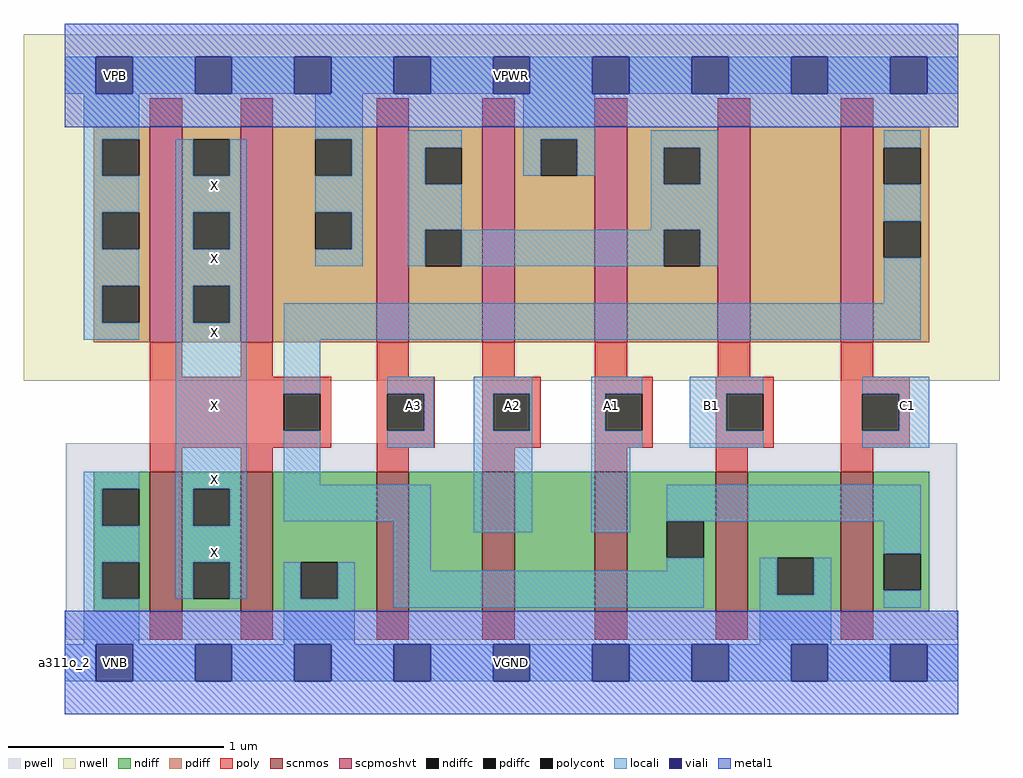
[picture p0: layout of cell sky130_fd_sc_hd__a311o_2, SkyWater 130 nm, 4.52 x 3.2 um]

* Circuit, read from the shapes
.subckt sky130_fd_sc_hd__a311o_2 A1 A2 A3 B1 C1 VGND VNB VPB VPWR X
XM1 X n1 VGND VNB sky130_fd_pr__nfet_01v8 w=0.65 l=0.15 m=2
XM2 n2 A3 VGND VNB sky130_fd_pr__nfet_01v8 w=0.65 l=0.15
XM3 n3 A2 n2 VNB sky130_fd_pr__nfet_01v8 w=0.65 l=0.15
XM4 n1 A1 n3 VNB sky130_fd_pr__nfet_01v8 w=0.65 l=0.15
XM5 VGND B1 n1 VNB sky130_fd_pr__nfet_01v8 w=0.65 l=0.15
XM6 n1 C1 VGND VNB sky130_fd_pr__nfet_01v8 w=0.65 l=0.15
XM7 X n1 VPWR VPB sky130_fd_pr__pfet_01v8_hvt w=1 l=0.15 m=2
XM8 n4 A3 VPWR VPB sky130_fd_pr__pfet_01v8_hvt w=1 l=0.15
XM9 VPWR A2 n4 VPB sky130_fd_pr__pfet_01v8_hvt w=1 l=0.15
XM10 n4 A1 VPWR VPB sky130_fd_pr__pfet_01v8_hvt w=1 l=0.15
XM11 n5 B1 n4 VPB sky130_fd_pr__pfet_01v8_hvt w=1 l=0.15
XM12 n1 C1 n5 VPB sky130_fd_pr__pfet_01v8_hvt w=1 l=0.15
.ends

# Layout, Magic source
magic
tech sky130B
magscale 1 2
<< nwell >>
rect -38 261 866 582
<< pwell >>
rect 1 21 827 203
rect 30 -17 64 21
<< scnmos >>
rect 79 47 109 177
rect 163 47 193 177
rect 289 47 319 177
rect 387 47 417 177
rect 491 47 521 177
rect 603 47 633 177
rect 719 47 749 177
<< scpmoshvt >>
rect 79 297 109 497
rect 163 297 193 497
rect 289 297 319 497
rect 387 297 417 497
rect 491 297 521 497
rect 605 297 635 497
rect 719 297 749 497
<< ndiff >>
rect 27 161 79 177
rect 27 127 35 161
rect 69 127 79 161
rect 27 93 79 127
rect 27 59 35 93
rect 69 59 79 93
rect 27 47 79 59
rect 109 161 163 177
rect 109 127 119 161
rect 153 127 163 161
rect 109 93 163 127
rect 109 59 119 93
rect 153 59 163 93
rect 109 47 163 59
rect 193 93 289 177
rect 193 59 219 93
rect 253 59 289 93
rect 193 47 289 59
rect 319 47 387 177
rect 417 47 491 177
rect 521 131 603 177
rect 521 97 558 131
rect 592 97 603 131
rect 521 47 603 97
rect 633 97 719 177
rect 633 63 660 97
rect 694 63 719 97
rect 633 47 719 63
rect 749 101 801 177
rect 749 67 759 101
rect 793 67 801 101
rect 749 47 801 67
<< pdiff >>
rect 27 485 79 497
rect 27 451 35 485
rect 69 451 79 485
rect 27 417 79 451
rect 27 383 35 417
rect 69 383 79 417
rect 27 349 79 383
rect 27 315 35 349
rect 69 315 79 349
rect 27 297 79 315
rect 109 485 163 497
rect 109 451 119 485
rect 153 451 163 485
rect 109 417 163 451
rect 109 383 119 417
rect 153 383 163 417
rect 109 349 163 383
rect 109 315 119 349
rect 153 315 163 349
rect 109 297 163 315
rect 193 485 289 497
rect 193 451 232 485
rect 266 451 289 485
rect 193 417 289 451
rect 193 383 232 417
rect 266 383 289 417
rect 193 297 289 383
rect 319 477 387 497
rect 319 443 334 477
rect 368 443 387 477
rect 319 401 387 443
rect 319 367 334 401
rect 368 367 387 401
rect 319 297 387 367
rect 417 485 491 497
rect 417 451 441 485
rect 475 451 491 485
rect 417 297 491 451
rect 521 477 605 497
rect 521 443 555 477
rect 589 443 605 477
rect 521 401 605 443
rect 521 367 555 401
rect 589 367 605 401
rect 521 297 605 367
rect 635 297 719 497
rect 749 477 801 497
rect 749 443 759 477
rect 793 443 801 477
rect 749 409 801 443
rect 749 375 759 409
rect 793 375 801 409
rect 749 297 801 375
<< ndiffc >>
rect 35 127 69 161
rect 35 59 69 93
rect 119 127 153 161
rect 119 59 153 93
rect 219 59 253 93
rect 558 97 592 131
rect 660 63 694 97
rect 759 67 793 101
<< pdiffc >>
rect 35 451 69 485
rect 35 383 69 417
rect 35 315 69 349
rect 119 451 153 485
rect 119 383 153 417
rect 119 315 153 349
rect 232 451 266 485
rect 232 383 266 417
rect 334 443 368 477
rect 334 367 368 401
rect 441 451 475 485
rect 555 443 589 477
rect 555 367 589 401
rect 759 443 793 477
rect 759 375 793 409
<< poly >>
rect 79 497 109 523
rect 163 497 193 523
rect 289 497 319 523
rect 387 497 417 523
rect 491 497 521 523
rect 605 497 635 523
rect 719 497 749 523
rect 79 265 109 297
rect 163 265 193 297
rect 289 265 319 297
rect 387 265 417 297
rect 491 265 521 297
rect 605 265 635 297
rect 719 265 749 297
rect 79 249 247 265
rect 79 215 203 249
rect 237 215 247 249
rect 79 199 247 215
rect 289 249 343 265
rect 289 215 299 249
rect 333 215 343 249
rect 289 199 343 215
rect 387 249 441 265
rect 387 215 397 249
rect 431 215 441 249
rect 387 199 441 215
rect 491 249 545 265
rect 491 215 501 249
rect 535 215 545 249
rect 491 199 545 215
rect 603 249 657 265
rect 603 215 613 249
rect 647 215 657 249
rect 603 199 657 215
rect 719 249 783 265
rect 719 215 739 249
rect 773 215 783 249
rect 719 199 783 215
rect 79 177 109 199
rect 163 177 193 199
rect 289 177 319 199
rect 387 177 417 199
rect 491 177 521 199
rect 603 177 633 199
rect 719 177 749 199
rect 79 21 109 47
rect 163 21 193 47
rect 289 21 319 47
rect 387 21 417 47
rect 491 21 521 47
rect 603 21 633 47
rect 719 21 749 47
<< polycont >>
rect 203 215 237 249
rect 299 215 333 249
rect 397 215 431 249
rect 501 215 535 249
rect 613 215 647 249
rect 739 215 773 249
<< locali >>
rect 0 527 29 561
rect 63 527 121 561
rect 155 527 213 561
rect 247 527 305 561
rect 339 527 397 561
rect 431 527 489 561
rect 523 527 581 561
rect 615 527 673 561
rect 707 527 765 561
rect 799 527 828 561
rect 18 485 69 527
rect 232 485 276 527
rect 18 451 35 485
rect 18 417 69 451
rect 18 383 35 417
rect 18 349 69 383
rect 18 315 35 349
rect 18 299 69 315
rect 103 451 119 485
rect 153 451 169 485
rect 103 417 169 451
rect 103 383 119 417
rect 153 383 169 417
rect 103 349 169 383
rect 266 451 276 485
rect 232 417 276 451
rect 266 383 276 417
rect 232 367 276 383
rect 318 477 368 493
rect 318 443 334 477
rect 425 485 491 527
rect 425 451 441 485
rect 475 451 491 485
rect 543 477 605 493
rect 318 401 368 443
rect 543 443 555 477
rect 589 443 605 477
rect 543 401 605 443
rect 318 367 334 401
rect 368 367 555 401
rect 589 367 605 401
rect 759 477 793 493
rect 759 409 793 443
rect 103 315 119 349
rect 153 315 169 349
rect 759 333 793 375
rect 18 161 69 177
rect 18 127 35 161
rect 18 93 69 127
rect 18 59 35 93
rect 103 161 169 315
rect 103 127 119 161
rect 153 127 169 161
rect 203 299 793 333
rect 203 249 237 299
rect 203 165 237 215
rect 299 249 342 265
rect 333 215 342 249
rect 299 199 342 215
rect 379 249 433 265
rect 379 215 397 249
rect 431 215 433 249
rect 203 131 339 165
rect 103 93 169 127
rect 103 59 119 93
rect 153 59 169 93
rect 203 59 219 93
rect 253 59 269 93
rect 18 17 69 59
rect 203 17 269 59
rect 305 85 339 131
rect 379 121 433 215
rect 488 249 535 265
rect 488 215 501 249
rect 488 199 535 215
rect 579 249 647 265
rect 579 215 613 249
rect 579 199 647 215
rect 739 249 801 265
rect 773 215 801 249
rect 739 199 801 215
rect 488 121 524 199
rect 558 131 793 165
rect 759 101 793 131
rect 558 85 592 97
rect 305 51 592 85
rect 644 63 660 97
rect 694 63 710 97
rect 644 17 710 63
rect 759 51 793 67
rect 0 -17 29 17
rect 63 -17 121 17
rect 155 -17 213 17
rect 247 -17 305 17
rect 339 -17 397 17
rect 431 -17 489 17
rect 523 -17 581 17
rect 615 -17 673 17
rect 707 -17 765 17
rect 799 -17 828 17
<< viali >>
rect 29 527 63 561
rect 121 527 155 561
rect 213 527 247 561
rect 305 527 339 561
rect 397 527 431 561
rect 489 527 523 561
rect 581 527 615 561
rect 673 527 707 561
rect 765 527 799 561
rect 29 -17 63 17
rect 121 -17 155 17
rect 213 -17 247 17
rect 305 -17 339 17
rect 397 -17 431 17
rect 489 -17 523 17
rect 581 -17 615 17
rect 673 -17 707 17
rect 765 -17 799 17
<< metal1 >>
rect 0 561 828 592
rect 0 527 29 561
rect 63 527 121 561
rect 155 527 213 561
rect 247 527 305 561
rect 339 527 397 561
rect 431 527 489 561
rect 523 527 581 561
rect 615 527 673 561
rect 707 527 765 561
rect 799 527 828 561
rect 0 496 828 527
rect 0 17 828 48
rect 0 -17 29 17
rect 63 -17 121 17
rect 155 -17 213 17
rect 247 -17 305 17
rect 339 -17 397 17
rect 431 -17 489 17
rect 523 -17 581 17
rect 615 -17 673 17
rect 707 -17 765 17
rect 799 -17 828 17
rect 0 -48 828 -17
<< labels >>
flabel nwell s 30 527 64 561 0 FreeSans 200 0 0 0 VPB
port 8 nsew power bidirectional
flabel pwell s 30 -17 64 17 0 FreeSans 200 0 0 0 VNB
port 7 nsew ground bidirectional
flabel metal1 s 30 -17 64 17 0 FreeSans 200 0 0 0 VGND
port 6 nsew ground bidirectional abutment
flabel metal1 s 30 527 64 561 0 FreeSans 200 0 0 0 VPWR
port 9 nsew power bidirectional abutment
flabel locali s 122 425 156 459 0 FreeSans 200 0 0 0 X
port 10 nsew signal output
flabel locali s 764 221 798 255 0 FreeSans 200 0 0 0 C1
port 5 nsew signal input
flabel locali s 582 221 616 255 0 FreeSans 200 0 0 0 B1
port 4 nsew signal input
flabel locali s 490 221 524 255 0 FreeSans 200 0 0 0 A1
port 1 nsew signal input
flabel locali s 398 221 432 255 0 FreeSans 200 0 0 0 A2
port 2 nsew signal input
flabel locali s 306 221 340 255 0 FreeSans 200 0 0 0 A3
port 3 nsew signal input
flabel locali s 122 85 156 119 0 FreeSans 200 0 0 0 X
port 10 nsew signal output
flabel locali s 122 153 156 187 0 FreeSans 200 0 0 0 X
port 10 nsew signal output
flabel locali s 122 221 156 255 0 FreeSans 200 0 0 0 X
port 10 nsew signal output
flabel locali s 122 289 156 323 0 FreeSans 200 0 0 0 X
port 10 nsew signal output
flabel locali s 122 357 156 391 0 FreeSans 200 0 0 0 X
port 10 nsew signal output
rlabel comment s 0 0 0 0 4 a311o_2
rlabel metal1 s 0 -48 828 48 1 VGND
port 6 nsew ground bidirectional abutment
rlabel metal1 s 0 496 828 592 1 VPWR
port 9 nsew power bidirectional abutment
<< properties >>
string FIXED_BBOX 0 0 828 544
string GDS_END 3689348
string GDS_FILE $PDKPATH/libs.ref/sky130_fd_sc_hd/gds/sky130_fd_sc_hd.gds
string GDS_START 3682028
string LEFclass CORE
string LEFsite unithd
string LEFsymmetry X Y R90
string path 0.000 0.000 20.700 0.000 
<< end >>
